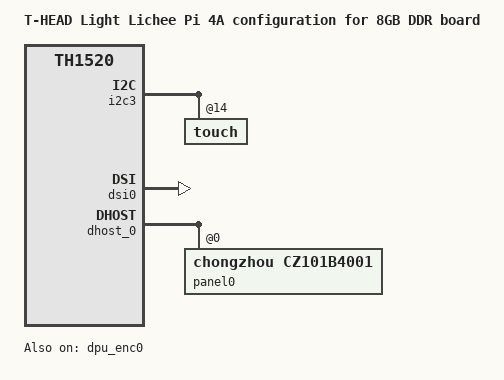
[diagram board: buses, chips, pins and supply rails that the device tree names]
/* SPDX-License-Identifier: GPL-2.0 */
/*
 * Copyright (C) 2022-2023 Alibaba Group Holding Limited.
 */

#include "th1520-lpi4a.dtsi"

/ {
	model = "T-HEAD Light Lichee Pi 4A configuration for 8GB DDR board";
	compatible = "thead,light-val", "thead,light-lpi4a", "thead,light";
};

&i2c3 {
	touch@14 {
		touchscreen-size-x = <800>;
		touchscreen-size-y = <1200>;
		status = "okay";
	};
};

&dsi0 {
        status = "okay";
};

&dpu_enc0 {
	status = "okay";
};

&dhost_0 {
	panel0@0 {
		compatible = "chongzhou,cz101b4001", "jadard,jd9365da-h3";
	};
};
